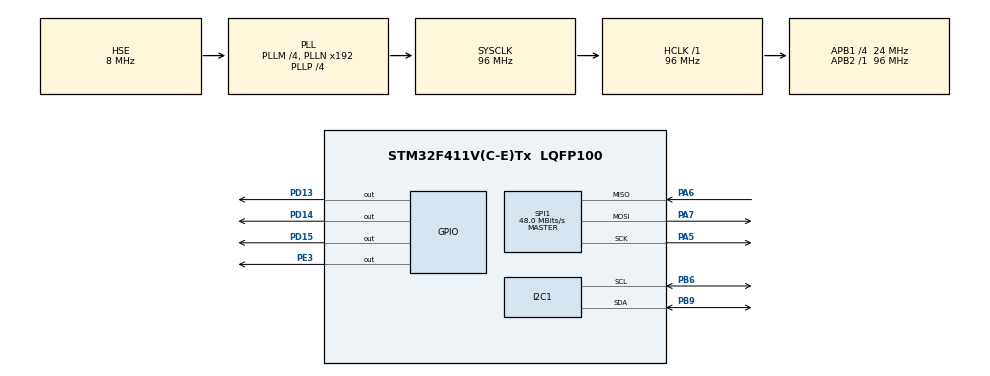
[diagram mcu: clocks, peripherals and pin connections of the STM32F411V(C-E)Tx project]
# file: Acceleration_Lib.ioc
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I2C1.I2C_Mode=I2C_Fast
Mcu.Family=STM32F4
Mcu.Name=STM32F411V(C-E)Tx
Mcu.Package=LQFP100
NVIC.PriorityGroup=NVIC_PRIORITYGROUP_0
PA13.Mode=Serial_Wire
PA13.Signal=SYS_JTMS-SWDIO
PA14.Mode=Serial_Wire
PA14.Signal=SYS_JTCK-SWCLK
PA5.Mode=Full_Duplex_Master
PA5.Signal=SPI1_SCK
PA6.Mode=Full_Duplex_Master
PA6.Signal=SPI1_MISO
PA7.Mode=Full_Duplex_Master
PA7.Signal=SPI1_MOSI
PB6.Mode=I2C
PB6.Signal=I2C1_SCL
PB9.Mode=I2C
PB9.Signal=I2C1_SDA
PD13.Signal=GPIO_Output
PD14.Signal=GPIO_Output
PD15.Signal=GPIO_Output
PE3.Signal=GPIO_Output
PH0\ -\ OSC_IN.Mode=HSE-External-Oscillator
PH0\ -\ OSC_IN.Signal=RCC_OSC_IN
PH1\ -\ OSC_OUT.Mode=HSE-External-Oscillator
PH1\ -\ OSC_OUT.Signal=RCC_OSC_OUT
ProjectManager.HeapSize=0x200
ProjectManager.StackSize=0x400
ProjectManager.TargetToolchain=STM32CubeIDE
RCC.48MHZClocksFreq_Value=48000000
RCC.AHBFreq_Value=96000000
RCC.APB1CLKDivider=RCC_HCLK_DIV4
RCC.APB1Freq_Value=24000000
RCC.APB1TimFreq_Value=48000000
RCC.APB2Freq_Value=96000000
RCC.APB2TimFreq_Value=96000000
RCC.CortexFreq_Value=96000000
RCC.HCLKFreq_Value=96000000
RCC.HSE_VALUE=8000000
RCC.HSI_VALUE=16000000
RCC.PLLI2SM=5
RCC.PLLI2SN=200
RCC.PLLM=4
RCC.PLLP=RCC_PLLP_DIV4
RCC.PLLQ=8
RCC.PLLSourceVirtual=RCC_PLLSOURCE_HSE
RCC.SYSCLKFreq_VALUE=96000000
RCC.SYSCLKSource=RCC_SYSCLKSOURCE_PLLCLK
RCC.VCOOutputFreq_Value=384000000
SPI1.CalculateBaudRate=48.0 MBits/s
SPI1.Direction=SPI_DIRECTION_2LINES
SPI1.Mode=SPI_MODE_MASTER
SPI1.VirtualType=VM_MASTER
board=STM32F411E-DISCO

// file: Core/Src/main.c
/* USER CODE BEGIN Header */
/**
  ******************************************************************************
  * @file           : main.c
  * @brief          : Main program body
  ******************************************************************************
  * @attention
  *
  * Copyright (c) 2023 STMicroelectronics.
  * All rights reserved.
  *
  * This software is licensed under terms that can be found in the LICENSE file
  * in the root directory of this software component.
  * If no LICENSE file comes with this software, it is provided AS-IS.
  *
  ******************************************************************************
  */
/* USER CODE END Header */
#include "main.h"

/* USER CODE BEGIN Includes */

#include "LSM303.h"
#include "L3GD20.h"
#include <math.h>

/* USER CODE END Includes */

/* USER CODE BEGIN PD */

float Xaccel, Zaccel ,Yaccel, acc_angleX  ,
	  pitch_acc , roll_acc , acc_angleY ,
	  Acc_ErrorX , Acc_ErrorY;

float Xgyro, Zgyro ,Ygyro,
	  gyro_angleX , gyro_angleY ,
	  Gyro_ErrorX , Gyro_ErrorY , Gyro_ErrorZ;

float  pitch , yaw , roll , dt, time;
int c = 0;

/* USER CODE END PD */

/* USER CODE BEGIN PM */

#define GYRO_PART 	0.95
#define ACCEL_PART	0.05
#define ACC_Z_OFFSET	0.053
#define roll_acc_error	1.0

/* USER CODE END PM */

I2C_HandleTypeDef hi2c1;

SPI_HandleTypeDef hspi1;

void SystemClock_Config(void);
static void MX_GPIO_Init(void);
static void MX_I2C1_Init(void);
static void MX_SPI1_Init(void);
/* USER CODE BEGIN PFP */

void calculate_IMU_error() {
	// imu için hata
	c =0;
	 while (c < 200) {
		Zaccel = Accel_Read_Z()+ACC_Z_OFFSET;
		Xaccel = Accel_Read_X();
		Yaccel = Accel_Read_Y();

Acc_ErrorX = Acc_ErrorX +
			atan(Yaccel / sqrt( (Xaccel*Xaccel) + (Zaccel*Zaccel )) )* 180.0/3.14;

Acc_ErrorY = Acc_ErrorY +
		atan( (-Xaccel) / sqrt((Yaccel*Yaccel)+(Zaccel*Zaccel)) )* 180.0/3.14;

	c++;
	 }

	 Acc_ErrorX = Acc_ErrorX/200;
	 Acc_ErrorY = Acc_ErrorY/200;

	 // gyro için hata
	 c=0;
	 while (c < 200) {

		 Zgyro = Gyro_Read_Z();
		 Xgyro = Gyro_Read_X();
		 Ygyro = Gyro_Read_Y();

	 Gyro_ErrorX = Gyro_ErrorX + Xgyro;
	 Gyro_ErrorY = Gyro_ErrorY + Ygyro;
	 Gyro_ErrorZ = Gyro_ErrorZ + Zgyro;

		 c++;
	 }
	 Gyro_ErrorY = Gyro_ErrorY/200;
	 Gyro_ErrorX = Gyro_ErrorX/200;
	 Gyro_ErrorZ = Gyro_ErrorZ /200;

}
/* USER CODE END PFP */

int main(void)
{

  /* MCU Configuration--------------------------------------------------------*/

  /* Reset of all peripherals, Initializes the Flash interface and the Systick. */
  HAL_Init();

  /* Configure the system clock */
  SystemClock_Config();

  /* Initialize all configured peripherals */
  MX_GPIO_Init();
  MX_I2C1_Init();
  MX_SPI1_Init();
  /* USER CODE BEGIN 2 */

  LSM303_Init(HighResolution, Scale_4g);
  L3GD20_Init(FS_245dps);

  calculate_IMU_error();
  /* USER CODE END 2 */

  /* Infinite loop */
  while (1)
  {

    /* USER CODE BEGIN 3 */
	  // X roll , Y pitch , Z yaw
		Zaccel = Accel_Read_Z()+ACC_Z_OFFSET;

		Xaccel = Accel_Read_X();
		// Xaccel = Xaccel + Acc_ErrorX;

		Yaccel = Accel_Read_Y();
		//Yaccel = Yaccel + Acc_ErrorY;

		pitch_acc = atan( (-Xaccel) / sqrt((Yaccel*Yaccel)+(Zaccel*Zaccel)) )* 180.0/3.14;

		roll_acc = atan(Yaccel / sqrt( (Xaccel*Xaccel) + (Zaccel*Zaccel )) )* 180.0/3.14;
		roll_acc = roll_acc;

		Zgyro = Gyro_Read_Z();
		Zgyro = Zgyro + Gyro_ErrorZ;

		Xgyro = Gyro_Read_X();
		Xgyro = Xgyro + Gyro_ErrorX;

		Ygyro = Gyro_Read_Y();
		Ygyro = Ygyro + Gyro_ErrorY;

		dt = (HAL_GetTick() - time )/1000;

		gyro_angleX = gyro_angleX + Xgyro * dt;
		dt = (HAL_GetTick() - time )/1000;

		gyro_angleY = gyro_angleY + Ygyro*dt;
		dt = (HAL_GetTick() - time )/1000;

		yaw = yaw + Zgyro * dt;

		time = HAL_GetTick();

		gyro_angleX = (GYRO_PART * (gyro_angleX )) + ( ACCEL_PART*( roll_acc));
		gyro_angleY = (GYRO_PART * (gyro_angleY )) + ( ACCEL_PART*( pitch_acc));

		roll = gyro_angleX;
		pitch = gyro_angleY;

		HAL_GPIO_TogglePin(GPIOD, GPIO_PIN_13 );

  }
  /* USER CODE END 3 */
}

void SystemClock_Config(void)
{
  RCC_OscInitTypeDef RCC_OscInitStruct = {0};
  RCC_ClkInitTypeDef RCC_ClkInitStruct = {0};

  /** Configure the main internal regulator output voltage
  */
  __HAL_RCC_PWR_CLK_ENABLE();
  __HAL_PWR_VOLTAGESCALING_CONFIG(PWR_REGULATOR_VOLTAGE_SCALE1);

  /** Initializes the RCC Oscillators according to the specified parameters
  * in the RCC_OscInitTypeDef structure.
  */
  RCC_OscInitStruct.OscillatorType = RCC_OSCILLATORTYPE_HSE;
  RCC_OscInitStruct.HSEState = RCC_HSE_ON;
  RCC_OscInitStruct.PLL.PLLState = RCC_PLL_ON;
  RCC_OscInitStruct.PLL.PLLSource = RCC_PLLSOURCE_HSE;
  RCC_OscInitStruct.PLL.PLLM = 4;
  RCC_OscInitStruct.PLL.PLLN = 192;
  RCC_OscInitStruct.PLL.PLLP = RCC_PLLP_DIV4;
  RCC_OscInitStruct.PLL.PLLQ = 8;
  if (HAL_RCC_OscConfig(&RCC_OscInitStruct) != HAL_OK)
  {
    Error_Handler();
  }

  /** Initializes the CPU, AHB and APB buses clocks
  */
  RCC_ClkInitStruct.ClockType = RCC_CLOCKTYPE_HCLK|RCC_CLOCKTYPE_SYSCLK
                              |RCC_CLOCKTYPE_PCLK1|RCC_CLOCKTYPE_PCLK2;
  RCC_ClkInitStruct.SYSCLKSource = RCC_SYSCLKSOURCE_PLLCLK;
  RCC_ClkInitStruct.AHBCLKDivider = RCC_SYSCLK_DIV1;
  RCC_ClkInitStruct.APB1CLKDivider = RCC_HCLK_DIV4;
  RCC_ClkInitStruct.APB2CLKDivider = RCC_HCLK_DIV1;

  if (HAL_RCC_ClockConfig(&RCC_ClkInitStruct, FLASH_LATENCY_3) != HAL_OK)
  {
    Error_Handler();
  }
}

static void MX_I2C1_Init(void)
{

  hi2c1.Instance = I2C1;
  hi2c1.Init.ClockSpeed = 400000;
  hi2c1.Init.DutyCycle = I2C_DUTYCYCLE_2;
  hi2c1.Init.OwnAddress1 = 0;
  hi2c1.Init.AddressingMode = I2C_ADDRESSINGMODE_7BIT;
  hi2c1.Init.DualAddressMode = I2C_DUALADDRESS_DISABLE;
  hi2c1.Init.OwnAddress2 = 0;
  hi2c1.Init.GeneralCallMode = I2C_GENERALCALL_DISABLE;
  hi2c1.Init.NoStretchMode = I2C_NOSTRETCH_DISABLE;
  if (HAL_I2C_Init(&hi2c1) != HAL_OK)
  {
    Error_Handler();
  }

}

static void MX_SPI1_Init(void)
{

  /* SPI1 parameter configuration*/
  hspi1.Instance = SPI1;
  hspi1.Init.Mode = SPI_MODE_MASTER;
  hspi1.Init.Direction = SPI_DIRECTION_2LINES;
  hspi1.Init.DataSize = SPI_DATASIZE_8BIT;
  hspi1.Init.CLKPolarity = SPI_POLARITY_LOW;
  hspi1.Init.CLKPhase = SPI_PHASE_1EDGE;
  hspi1.Init.NSS = SPI_NSS_SOFT;
  hspi1.Init.BaudRatePrescaler = SPI_BAUDRATEPRESCALER_2;
  hspi1.Init.FirstBit = SPI_FIRSTBIT_MSB;
  hspi1.Init.TIMode = SPI_TIMODE_DISABLE;
  hspi1.Init.CRCCalculation = SPI_CRCCALCULATION_DISABLE;
  hspi1.Init.CRCPolynomial = 10;
  if (HAL_SPI_Init(&hspi1) != HAL_OK)
  {
    Error_Handler();
  }

}

static void MX_GPIO_Init(void)
{
  GPIO_InitTypeDef GPIO_InitStruct = {0};

  /* GPIO Ports Clock Enable */
  __HAL_RCC_GPIOE_CLK_ENABLE();
  __HAL_RCC_GPIOH_CLK_ENABLE();
  __HAL_RCC_GPIOA_CLK_ENABLE();
  __HAL_RCC_GPIOD_CLK_ENABLE();
  __HAL_RCC_GPIOB_CLK_ENABLE();

  /*Configure GPIO pin Output Level */
  HAL_GPIO_WritePin(GPIOE, GPIO_PIN_3, GPIO_PIN_RESET);

  /*Configure GPIO pin Output Level */
  HAL_GPIO_WritePin(GPIOD, GPIO_PIN_13|GPIO_PIN_14|GPIO_PIN_15, GPIO_PIN_RESET);

  /*Configure GPIO pin : PE3 */
  GPIO_InitStruct.Pin = GPIO_PIN_3;
  GPIO_InitStruct.Mode = GPIO_MODE_OUTPUT_PP;
  GPIO_InitStruct.Pull = GPIO_NOPULL;
  GPIO_InitStruct.Speed = GPIO_SPEED_FREQ_LOW;
  HAL_GPIO_Init(GPIOE, &GPIO_InitStruct);

  /*Configure GPIO pins : PD13 PD14 PD15 */
  GPIO_InitStruct.Pin = GPIO_PIN_13|GPIO_PIN_14|GPIO_PIN_15;
  GPIO_InitStruct.Mode = GPIO_MODE_OUTPUT_PP;
  GPIO_InitStruct.Pull = GPIO_NOPULL;
  GPIO_InitStruct.Speed = GPIO_SPEED_FREQ_LOW;
  HAL_GPIO_Init(GPIOD, &GPIO_InitStruct);

}

void Error_Handler(void)
{
  __disable_irq();
  while (1)
  {
  }
}
